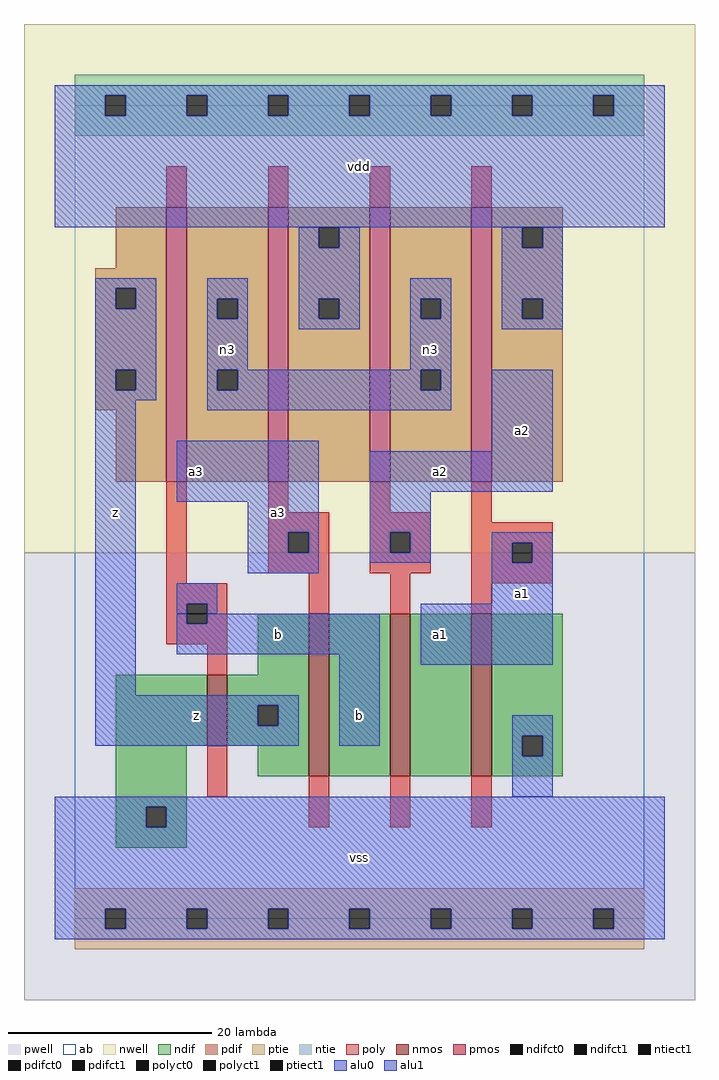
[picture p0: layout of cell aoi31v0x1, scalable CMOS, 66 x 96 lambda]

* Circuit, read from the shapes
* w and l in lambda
.subckt aoi31v0x1 a1 a2 a3 b n3 vdd vss z
M1 z b vss vss nfet w=7 l=2
M2 n1 a3 z vss nfet w=16 l=2
M3 n2 a2 n1 vss nfet w=16 l=2
M4 vss a1 n2 vss nfet w=16 l=2
M5 n3 b z vdd pfet w=27 l=2
M6 vdd a3 n3 vdd pfet w=27 l=2
M7 n3 a2 vdd vdd pfet w=27 l=2
M8 vdd a1 n3 vdd pfet w=27 l=2
.ends

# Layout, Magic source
magic
tech scmos
<< ab >>
rect 0 0 56 80
<< nwell >>
rect -5 36 61 88
<< pwell >>
rect -5 -8 61 36
<< poly >>
rect 9 70 11 74
rect 19 70 21 74
rect 29 70 31 74
rect 39 70 41 74
rect 9 33 11 43
rect 19 40 21 43
rect 29 40 31 43
rect 19 38 25 40
rect 19 36 21 38
rect 23 36 25 38
rect 19 34 25 36
rect 29 38 35 40
rect 29 36 31 38
rect 33 36 35 38
rect 29 34 35 36
rect 39 39 41 43
rect 39 37 47 39
rect 39 35 43 37
rect 45 35 47 37
rect 9 31 15 33
rect 9 29 11 31
rect 13 29 15 31
rect 23 30 25 34
rect 31 30 33 34
rect 39 33 47 35
rect 39 30 41 33
rect 9 27 15 29
rect 13 24 15 27
rect 13 12 15 17
rect 23 9 25 14
rect 31 9 33 14
rect 39 9 41 14
<< ndif >>
rect 18 24 23 30
rect 4 17 13 24
rect 15 21 23 24
rect 15 19 18 21
rect 20 19 23 21
rect 15 17 23 19
rect 4 11 11 17
rect 18 14 23 17
rect 25 14 31 30
rect 33 14 39 30
rect 41 18 48 30
rect 41 16 44 18
rect 46 16 48 18
rect 41 14 48 16
rect 4 9 7 11
rect 9 9 11 11
rect 4 7 11 9
<< pdif >>
rect 4 64 9 70
rect 2 62 9 64
rect 2 60 4 62
rect 6 60 9 62
rect 2 54 9 60
rect 2 52 4 54
rect 6 52 9 54
rect 2 50 9 52
rect 4 43 9 50
rect 11 61 19 70
rect 11 59 14 61
rect 16 59 19 61
rect 11 54 19 59
rect 11 52 14 54
rect 16 52 19 54
rect 11 43 19 52
rect 21 68 29 70
rect 21 66 24 68
rect 26 66 29 68
rect 21 61 29 66
rect 21 59 24 61
rect 26 59 29 61
rect 21 43 29 59
rect 31 61 39 70
rect 31 59 34 61
rect 36 59 39 61
rect 31 54 39 59
rect 31 52 34 54
rect 36 52 39 54
rect 31 43 39 52
rect 41 68 48 70
rect 41 66 44 68
rect 46 66 48 68
rect 41 61 48 66
rect 41 59 44 61
rect 46 59 48 61
rect 41 43 48 59
<< alu1 >>
rect -2 81 58 82
rect -2 79 3 81
rect 5 79 11 81
rect 13 79 19 81
rect 21 79 27 81
rect 29 79 35 81
rect 37 79 43 81
rect 45 79 51 81
rect 53 79 58 81
rect -2 68 58 79
rect 2 62 8 63
rect 2 60 4 62
rect 6 60 8 62
rect 2 54 8 60
rect 2 52 4 54
rect 6 52 8 54
rect 2 51 8 52
rect 2 22 6 51
rect 10 41 24 47
rect 41 46 47 54
rect 17 38 24 41
rect 17 36 21 38
rect 23 36 24 38
rect 17 34 24 36
rect 29 42 47 46
rect 29 38 35 42
rect 29 36 31 38
rect 33 36 35 38
rect 29 35 35 36
rect 41 37 47 38
rect 41 35 43 37
rect 45 35 47 37
rect 41 31 47 35
rect 10 29 11 30
rect 13 29 30 30
rect 10 26 30 29
rect 2 21 22 22
rect 2 19 18 21
rect 20 19 22 21
rect 2 17 22 19
rect 26 17 30 26
rect 34 25 47 31
rect -2 11 58 12
rect -2 9 7 11
rect 9 9 58 11
rect -2 1 58 9
rect -2 -1 3 1
rect 5 -1 11 1
rect 13 -1 19 1
rect 21 -1 27 1
rect 29 -1 35 1
rect 37 -1 43 1
rect 45 -1 51 1
rect 53 -1 58 1
rect -2 -2 58 -1
<< ptie >>
rect 0 1 56 3
rect 0 -1 3 1
rect 5 -1 11 1
rect 13 -1 19 1
rect 21 -1 27 1
rect 29 -1 35 1
rect 37 -1 43 1
rect 45 -1 51 1
rect 53 -1 56 1
rect 0 -3 56 -1
<< ntie >>
rect 0 81 56 83
rect 0 79 3 81
rect 5 79 11 81
rect 13 79 19 81
rect 21 79 27 81
rect 29 79 35 81
rect 37 79 43 81
rect 45 79 51 81
rect 53 79 56 81
rect 0 77 56 79
<< nmos >>
rect 13 17 15 24
rect 23 14 25 30
rect 31 14 33 30
rect 39 14 41 30
<< pmos >>
rect 9 43 11 70
rect 19 43 21 70
rect 29 43 31 70
rect 39 43 41 70
<< polyct0 >>
rect 11 30 13 31
<< polyct1 >>
rect 21 36 23 38
rect 31 36 33 38
rect 43 35 45 37
rect 11 29 13 30
<< ndifct0 >>
rect 44 16 46 18
<< ndifct1 >>
rect 18 19 20 21
rect 7 9 9 11
<< ntiect1 >>
rect 3 79 5 81
rect 11 79 13 81
rect 19 79 21 81
rect 27 79 29 81
rect 35 79 37 81
rect 43 79 45 81
rect 51 79 53 81
<< ptiect1 >>
rect 3 -1 5 1
rect 11 -1 13 1
rect 19 -1 21 1
rect 27 -1 29 1
rect 35 -1 37 1
rect 43 -1 45 1
rect 51 -1 53 1
<< pdifct0 >>
rect 14 59 16 61
rect 14 52 16 54
rect 24 66 26 68
rect 24 59 26 61
rect 34 59 36 61
rect 34 52 36 54
rect 44 66 46 68
rect 44 59 46 61
<< pdifct1 >>
rect 4 60 6 62
rect 4 52 6 54
<< alu0 >>
rect 22 66 24 68
rect 26 66 28 68
rect 13 61 17 63
rect 13 59 14 61
rect 16 59 17 61
rect 13 54 17 59
rect 22 61 28 66
rect 42 66 44 68
rect 46 66 48 68
rect 22 59 24 61
rect 26 59 28 61
rect 22 58 28 59
rect 33 61 37 63
rect 33 59 34 61
rect 36 59 37 61
rect 33 54 37 59
rect 42 61 48 66
rect 42 59 44 61
rect 46 59 48 61
rect 42 58 48 59
rect 13 52 14 54
rect 16 52 34 54
rect 36 52 37 54
rect 13 50 37 52
rect 10 31 14 33
rect 10 30 11 31
rect 13 30 14 31
rect 43 18 47 20
rect 43 16 44 18
rect 46 16 47 18
rect 43 12 47 16
<< labels >>
rlabel alu0 15 56 15 56 6 n3
rlabel alu0 35 56 35 56 6 n3
rlabel alu1 4 40 4 40 6 z
rlabel alu1 12 20 12 20 6 z
rlabel alu1 20 28 20 28 6 b
rlabel alu1 20 40 20 40 6 a3
rlabel alu1 12 44 12 44 6 a3
rlabel alu1 28 6 28 6 6 vss
rlabel alu1 28 20 28 20 6 b
rlabel alu1 36 28 36 28 6 a1
rlabel alu1 36 44 36 44 6 a2
rlabel alu1 28 74 28 74 6 vdd
rlabel alu1 44 32 44 32 6 a1
rlabel alu1 44 48 44 48 6 a2
<< end >>
